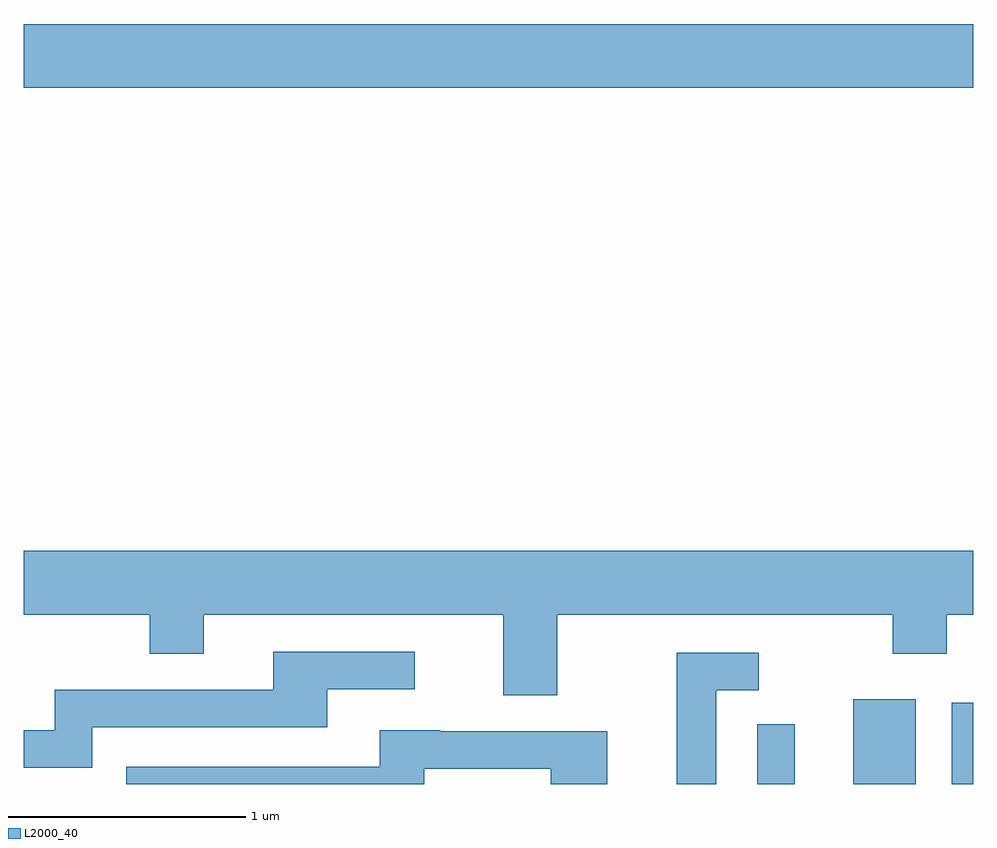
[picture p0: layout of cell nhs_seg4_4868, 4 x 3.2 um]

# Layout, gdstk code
import gdstk
lib = gdstk.Library(unit=1e-6, precision=1e-09)
def R(c, l, rs):  # rectangles x0, y0, x1, y1
    for r in rs: c.add(gdstk.rectangle(r[:2], r[2:], *l))
def P(c, l, *ps):  # polygons
    for p in ps: c.add(gdstk.Polygon(p, *l))
L2000_40 = (2000, 40)

nhs_seg4_4868 = lib.new_cell('nhs_seg4_4868')
R(nhs_seg4_4868, L2000_40, [(330.701,1333.982,330.859,1334.233), (331.106,1333.982,331.369,1334.339), (331.521,1333.982,331.611,1334.324), (327.611,1336.916,331.611,1337.184)])
P(nhs_seg4_4868, L2000_40, [(329.859,1334.696),(331.271,1334.696),(331.271,1334.531),(331.499,1334.531),(331.499,1334.696),(331.611,1334.696),(331.611,1334.964),(327.611,1334.964),(327.611,1334.696),(328.141,1334.696),(328.141,1334.531),(328.369,1334.531),(328.369,1334.696),(329.631,1334.696),(329.631,1334.356),(329.859,1334.356)],
  [(327.899,1334.221),(328.889,1334.221),(328.889,1334.381),(329.258,1334.381),(329.258,1334.539),(328.661,1334.539),(328.661,1334.379),(327.741,1334.379),(327.741,1334.209),(327.611,1334.209),(327.611,1334.051),(327.899,1334.051)],
  [(330.529,1334.376),(330.708,1334.376),(330.708,1334.534),(330.361,1334.534),(330.361,1333.982),(330.529,1333.982)],
  [(329.299,1334.046),(329.831,1334.046),(329.831,1333.982),(330.069,1333.982),(330.069,1334.204),(329.365,1334.204),(329.365,1334.209),(329.111,1334.209),(329.111,1334.054),(328.043,1334.054),(328.043,1333.982),(329.299,1333.982)])

lib.write_gds('nhs_seg4_4868.gds')
